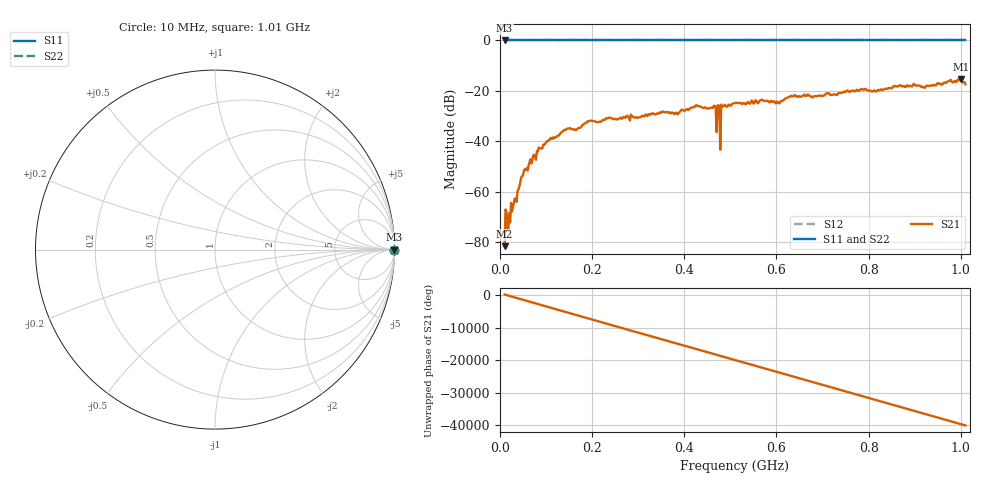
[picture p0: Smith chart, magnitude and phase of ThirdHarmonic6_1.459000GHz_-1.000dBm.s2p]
! 8/16/2025 4:57:31 PM
! C:\ANRITSUVNA\TEMP\TEMP.S2P
! CHANNEL.1
! TR.MEASUREMENT
! RAW.DATA
! RF.CORRECTION.OFF
! AVERAGING.OFF
! IF.BANDWIDTH: 5KHZ
! SWEEPTYPE:  FREQ.SWEEP(Linear)
! Reference Plane Port Info
! PORT:  PORT1  PORT2
! DISTANCE:  0  m  0  m
! TIME:  0  s  0  s
! PHASE.OFFSET:  0  deg.  0  deg.
! LOSS:  0  dB  0  dB
! REF.LOSS:  0  dB  0  dB
! REF.FREQ:  0  Hz  0  Hz
! Power Info
! POWER:  -20  dBm  -20  dBm
! EFF.POWER:  -20  dBm  -20  dBm
! SOURCE.ATTEN:  0  dB  0  dB
! TEST.ATTEN:  0  dB  0  dB
# GHZ S RI R 50.0
! FREQ.GHZ  S11RE  S11IM  S21RE  S21IM  S12RE  S12IM  S22RE  S22IM
!; PortSelection: Port_12
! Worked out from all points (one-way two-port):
!   501 points, 10 MHz to 1.01 GHz, reference 50 ohm
!   highest |S21| = -15.39 dB at 1 GHz (marker M1); lowest = -81.7 dB at 10 MHz (marker M2)
!   lowest |S11| = 0.0 dB at 10 MHz (marker M3)
!   |S11| at or under -10 dB: nowhere
!   |S22| runs from 0.0 to 0.0 dB; largest |S21 - S12| = 1.1
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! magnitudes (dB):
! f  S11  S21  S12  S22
! 10 MHz  0.0  -81.7  0.0  0.0
! 16 MHz  0.0  -75.1  0.0  0.0
! 20 MHz  0.0  -68.7  0.0  0.0
! 50 MHz  0.0  -53.5  0.0  0.0
! 84 MHz  0.0  -42.5  0.0  0.0
! 142 MHz  0.0  -35.6  0.0  0.0
! 178 MHz  0.0  -33.9  0.0  0.0
! 194 MHz  0.0  -31.9  0.0  0.0
! 344 MHz  0.0  -29.0  0.0  0.0
! 464 MHz  0.0  -25.9  0.0  0.0
! 466 MHz  0.0  -26.0  0.0  0.0
! 472 MHz  0.0  -25.9  0.0  0.0
! 474 MHz  0.0  -25.7  0.0  0.0
! 476 MHz  0.0  -26.0  0.0  0.0
! 482 MHz  0.0  -26.1  0.0  0.0
! 484 MHz  0.0  -26.2  0.0  0.0
! 510 MHz  0.0  -24.8  0.0  0.0
! 602 MHz  0.0  -24.2  0.0  0.0
! 678 MHz  0.0  -22.7  0.0  0.0
! 844 MHz  0.0  -18.8  0.0  0.0
! 1 GHz  0.0  -15.4  0.0  0.0
! 1.01 GHz  0.0  -17.4  0.0  0.0
